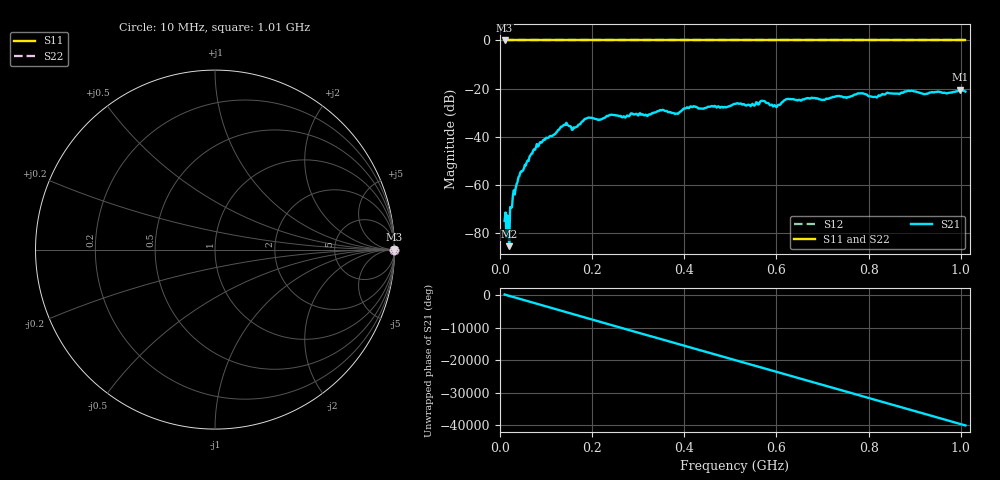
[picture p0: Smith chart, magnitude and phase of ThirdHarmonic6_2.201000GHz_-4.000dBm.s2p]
! 8/17/2025 2:13:48 AM
! C:\ANRITSUVNA\TEMP\TEMP.S2P
! CHANNEL.1
! TR.MEASUREMENT
! RAW.DATA
! RF.CORRECTION.OFF
! AVERAGING.OFF
! IF.BANDWIDTH: 5KHZ
! SWEEPTYPE:  FREQ.SWEEP(Linear)
! Reference Plane Port Info
! PORT:  PORT1  PORT2
! DISTANCE:  0  m  0  m
! TIME:  0  s  0  s
! PHASE.OFFSET:  0  deg.  0  deg.
! LOSS:  0  dB  0  dB
! REF.LOSS:  0  dB  0  dB
! REF.FREQ:  0  Hz  0  Hz
! Power Info
! POWER:  -20  dBm  -20  dBm
! EFF.POWER:  -20  dBm  -20  dBm
! SOURCE.ATTEN:  0  dB  0  dB
! TEST.ATTEN:  0  dB  0  dB
# GHZ S RI R 50.0
! FREQ.GHZ  S11RE  S11IM  S21RE  S21IM  S12RE  S12IM  S22RE  S22IM
!; PortSelection: Port_12
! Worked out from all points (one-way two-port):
!   501 points, 10 MHz to 1.01 GHz, reference 50 ohm
!   highest |S21| = -20.50 dB at 998 MHz (marker M1); lowest = -85.6 dB at 20 MHz (marker M2)
!   lowest |S11| = 0.0 dB at 10 MHz (marker M3)
!   |S11| at or under -10 dB: nowhere
!   |S22| runs from 0.0 to 0.0 dB; largest |S21 - S12| = 1.1
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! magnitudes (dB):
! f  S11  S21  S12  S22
! 10 MHz  0.0  -75.0  0.0  0.0
! 16 MHz  0.0  -72.8  0.0  0.0
! 20 MHz  0.0  -85.6  0.0  0.0
! 22 MHz  0.0  -69.4  0.0  0.0
! 26 MHz  0.0  -69.4  0.0  0.0
! 42 MHz  0.0  -56.4  0.0  0.0
! 76 MHz  0.0  -45.5  0.0  0.0
! 140 MHz  0.0  -35.1  0.0  0.0
! 160 MHz  0.0  -36.2  0.0  0.0
! 178 MHz  0.0  -33.7  0.0  0.0
! 192 MHz  0.0  -32.1  0.0  0.0
! 344 MHz  0.0  -29.4  0.0  0.0
! 384 MHz  0.0  -30.4  0.0  0.0
! 416 MHz  0.0  -27.7  0.0  0.0
! 510 MHz  0.0  -26.4  0.0  0.0
! 570 MHz  0.0  -25.1  0.0  0.0
! 596 MHz  0.0  -26.9  0.0  0.0
! 624 MHz  0.0  -24.3  0.0  0.0
! 678 MHz  0.0  -23.9  0.0  0.0
! 844 MHz  0.0  -22.0  0.0  0.0
! 998 MHz  0.0  -20.5  0.0  0.0
! 1.01 GHz  0.0  -21.2  0.0  0.0
